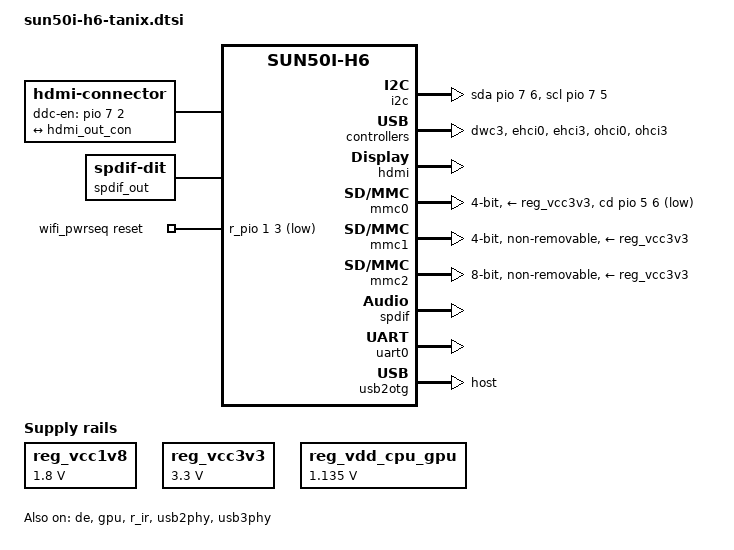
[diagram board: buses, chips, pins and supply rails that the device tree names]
// SPDX-License-Identifier: (GPL-2.0+ OR MIT)
// Copyright (c) 2019 Jernej Skrabec <jernej.skrabec@siol.net>

/dts-v1/;

#include "sun50i-h6.dtsi"
#include "sun50i-h6-cpu-opp.dtsi"

#include <dt-bindings/gpio/gpio.h>

/ {
	aliases {
		serial0 = &uart0;
	};

	chosen {
		stdout-path = "serial0:115200n8";
	};

	connector {
		compatible = "hdmi-connector";
		ddc-en-gpios = <&pio 7 2 GPIO_ACTIVE_HIGH>; /* PH2 */
		type = "a";

		port {
			hdmi_con_in: endpoint {
				remote-endpoint = <&hdmi_out_con>;
			};
		};
	};

	/* used for FD650 LED display driver */
	i2c {
		compatible = "i2c-gpio";
		sda-gpios = <&pio 7 6 (GPIO_ACTIVE_HIGH|GPIO_OPEN_DRAIN)>; /* PH6 */
		scl-gpios = <&pio 7 5 (GPIO_ACTIVE_HIGH|GPIO_OPEN_DRAIN)>; /* PH5 */
		i2c-gpio,delay-us = <5>;
	};

	reg_vcc1v8: regulator-vcc1v8 {
		compatible = "regulator-fixed";
		regulator-name = "vcc1v8";
		regulator-min-microvolt = <1800000>;
		regulator-max-microvolt = <1800000>;
	};

	reg_vcc3v3: regulator-vcc3v3 {
		compatible = "regulator-fixed";
		regulator-name = "vcc3v3";
		regulator-min-microvolt = <3300000>;
		regulator-max-microvolt = <3300000>;
	};

	reg_vdd_cpu_gpu: regulator-vdd-cpu-gpu {
		compatible = "regulator-fixed";
		regulator-name = "vdd-cpu-gpu";
		regulator-min-microvolt = <1135000>;
		regulator-max-microvolt = <1135000>;
	};

	sound-spdif {
		compatible = "simple-audio-card";
		simple-audio-card,name = "sun50i-h6-spdif";

		simple-audio-card,cpu {
			sound-dai = <&spdif>;
		};

		simple-audio-card,codec {
			sound-dai = <&spdif_out>;
		};
	};

	spdif_out: spdif-out {
		#sound-dai-cells = <0>;
		compatible = "linux,spdif-dit";
	};

	wifi_pwrseq: wifi-pwrseq {
		compatible = "mmc-pwrseq-simple";
		clocks = <&rtc CLK_OSC32K_FANOUT>;
		clock-names = "ext_clock";
		reset-gpios = <&r_pio 1 3 GPIO_ACTIVE_LOW>; /* PM3 */
	};
};

&cpu0 {
	cpu-supply = <&reg_vdd_cpu_gpu>;
};

&de {
	status = "okay";
};

&dwc3 {
	status = "okay";
};

&ehci0 {
	status = "okay";
};

&ehci3 {
	status = "okay";
};

&gpu {
	mali-supply = <&reg_vdd_cpu_gpu>;
	status = "okay";
};

&hdmi {
	status = "okay";
};

&hdmi_out {
	hdmi_out_con: endpoint {
		remote-endpoint = <&hdmi_con_in>;
	};
};

&mmc0 {
	pinctrl-names = "default";
	pinctrl-0 = <&mmc0_pins>;
	vmmc-supply = <&reg_vcc3v3>;
	cd-gpios = <&pio 5 6 GPIO_ACTIVE_LOW>;
	disable-wp;
	bus-width = <4>;
	status = "okay";
};

&mmc1 {
	vmmc-supply = <&reg_vcc3v3>;
	vqmmc-supply = <&reg_vcc1v8>;
	mmc-pwrseq = <&wifi_pwrseq>;
	bus-width = <4>;
	non-removable;
	status = "okay";
};

&mmc2 {
	vmmc-supply = <&reg_vcc3v3>;
	vqmmc-supply = <&reg_vcc1v8>;
	bus-width = <8>;
	non-removable;
	cap-mmc-hw-reset;
	mmc-hs200-1_8v;
	status = "okay";
};

&ohci0 {
	status = "okay";
};

&ohci3 {
	status = "okay";
};

&pio {
	vcc-pc-supply = <&reg_vcc1v8>;
	vcc-pd-supply = <&reg_vcc3v3>;
	vcc-pg-supply = <&reg_vcc1v8>;
};

&r_ir {
	status = "okay";
};

&spdif {
	pinctrl-names = "default";
	pinctrl-0 = <&spdif_tx_pin>;
	status = "okay";
};

&uart0 {
	pinctrl-names = "default";
	pinctrl-0 = <&uart0_ph_pins>;
	status = "okay";
};

&usb2otg {
	dr_mode = "host";
	status = "okay";
};

&usb2phy {
	status = "okay";
};

&usb3phy {
	status = "okay";
};
